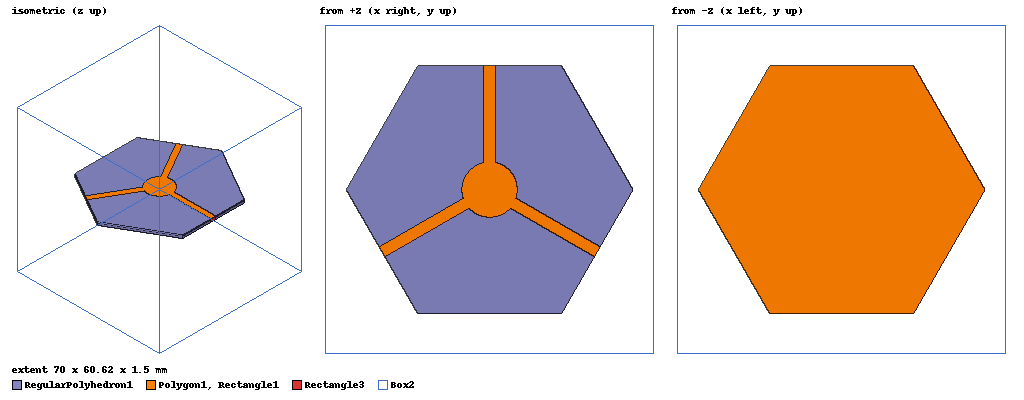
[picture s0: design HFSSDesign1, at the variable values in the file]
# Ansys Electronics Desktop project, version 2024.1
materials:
  vacuum: permittivity=1
  Rogers RO4003 (tm): permittivity=3.55 dielectric_loss_tangent=0.0027
  air: permittivity=1.0006 permeability=1.0000004
  FR4_epoxy: permittivity=4.4 dielectric_loss_tangent=0.02
  ferrite: permittivity=12 permeability=1000 conductivity=0.01

design HFSSDesign1 (HFSS, HFSS Modal Network, model units mm)
options: Calculate_Lossy_Dielectrics Save_Adaptive_support_files
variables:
  t = 1.8mm  # optimise 1.5mm..4.5mm
  r2 = 35mm
  height1 = 1.5mm
  wide = 2.8mm
  length = r2*sqrt(3)/2
  wide2 = 2.8mm
  air_l = 40mm
  r1 = 6.75mm
  wide3 = 2.8mm
  teta2 = 120deg
  teta3 = 120deg
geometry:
  Box2 [air] = box(corner=(-air_l, -air_l, -air_l), size=(2*air_l, 2*air_l, 2*air_l))
  RegularPolyhedron1 [FR4_epoxy] = polyhedron(axis=Z, centre=(0mm, 0mm, 0mm), first_corner=(r2, 0mm, 0mm), sides=6, height=height1)
  Polygon1 = regular_polygon(axis=Z, centre=(0mm, 0mm, 0mm), first_corner=(r2, 0mm, 0mm), sides=6)
  Rectangle1 = rectangle(corner=(-wide/2, 0mm, height1), x_size=wide, y_size=length)
  Rectangle2 = rectangle(corner=(-wide2/2, 0mm, height1), x_size=wide2, y_size=length)
  Rectangle2.rotate(axis=Z, angle=teta2)
  Rectangle3 = rectangle(corner=(wide/2, length, height1), z_size=-height1, x_size=-wide)
  Rectangle4 = rectangle(corner=(wide2/2, length, height1), z_size=-height1, x_size=-wide2)
  Rectangle4.rotate(axis=Z, angle=teta2)
  Rectangle1.unite(Rectangle2)
  Circle1 = circle(normal=Z, centre=(0mm, 0mm, height1), radius=r1)
  Rectangle5 = rectangle(corner=(-wide3/2, 0mm, height1), x_size=wide3, y_size=length)
  Rectangle5.rotate(axis=Z, angle=-teta3)
  Rectangle1.unite(Circle1, Rectangle5)
  Rectangle6 = rectangle(corner=(wide3/2, length, height1), z_size=-height1, x_size=-wide3)
  Rectangle6.rotate(axis=Z, angle=-teta3)
  Cylinder1 = cylinder(axis=Z, base_centre=(0mm, 0mm, 0mm), radius=r1, height=height1)
  RegularPolyhedron1.subtract(Cylinder1)
  Cylinder2 [ferrite] = cylinder(axis=Z, base_centre=(0mm, 0mm, 0mm), radius=r1, height=height1)
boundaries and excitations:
  PerfE1: Perfect E Objects=Polygon1
  PerfE2: Perfect E Objects=Rectangle1
  1: Lumped Port Objects=Rectangle3 LumpedPortType=Modal Modes{Mode1{IntLine{(0, 30.310889, 1.5) -> (0, 30.310889, 0)} CharImp=Zpi RenormImp=50ohm}} Impedance=50ohm
  2: Lumped Port Objects=Rectangle4 LumpedPortType=Modal Modes{Mode1{IntLine{(-26.25, -15.155445, 1.5) -> (-26.25, -15.155445, 0)} CharImp=Zpi RenormImp=50ohm}} Impedance=50ohm
  3: Lumped Port Objects=Rectangle6 LumpedPortType=Modal Modes{Mode1{IntLine{(26.25, -15.155445, 1.5) -> (26.25, -15.155445, 0)} CharImp=Zpi RenormImp=50ohm}} Impedance=50ohm
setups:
  Setup1: HfssDriven Frequency=18GHz MaxDeltaS=0.02 MaximumPasses=6 MinimumPasses=1 MinimumConvergedPasses=1 PercentRefinement=30 BasisOrder=1 PortAccuracy=2 DrivenSolverType="Direct Solver"
    sweep Sweep: 12GHz to 18GHz step 0.05GHz; Type=Fast SaveFields
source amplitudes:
  1:1: 1W 0deg
  2:1, 3:1: 0W 0deg
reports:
  XY Plot 1: dB(S(1,1)), dB(S(2,1)), dB(S(3,1)) vs Freq on Setup1 : Sweep
